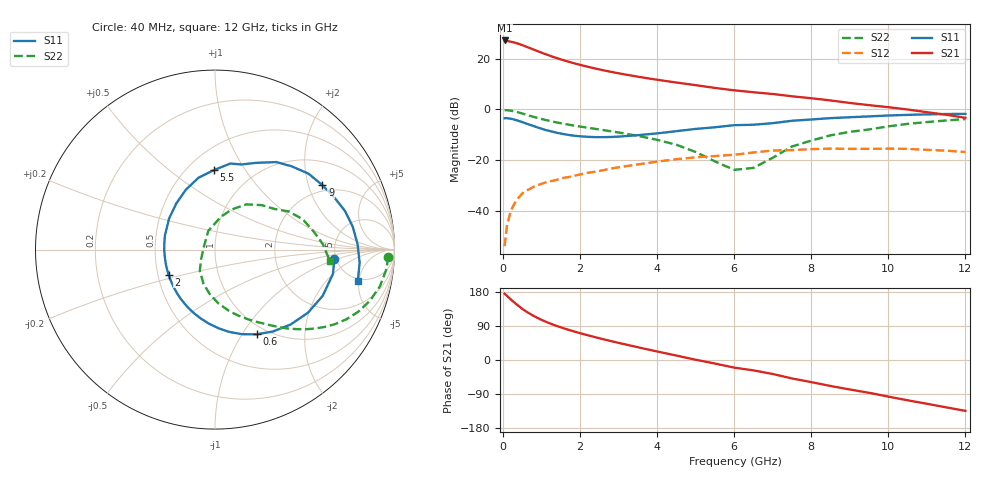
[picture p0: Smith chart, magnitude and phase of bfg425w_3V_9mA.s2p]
! Filename: 39bfg425.001
! BFG425W Field C1
! V1=8.379E-001V,V2=3.000E+000V, I1=1.134E-004A, I2=9.010E-003A
# GHz  S  MA  R 50
!  S11  S21  S12  S22
!Freq(GHz)  Mag  Ang  Mag  Ang  Mag  Ang  Mag  Ang
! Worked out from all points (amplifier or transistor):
!   44 points, 40 MHz to 12 GHz, reference 50 ohm
!   highest |S21| = 27.2 dB at 40 MHz (marker M1)
!   |S21| within 3 dB of that: start of sweep to 692.1 MHz
!   unconditionally stable (mu >= 1): 1.976 GHz to end of sweep
!   at 700 MHz: K = 0.50, MSG = 27.8 dB, |S12| = -31.4 dB
!   at 2.4 GHz: K = 1.10, MAG = 18.4 dB, |S12| = -24.6 dB
!   at 12 GHz: K = 1.40, MAG = 3.0 dB, |S12| = -16.8 dB
!   S11 on the Smith chart (normalised r, x): 40 MHz: 4.82, -0.92; 600 MHz: 0.89, -1.16; 2 GHz: 0.57, -0.17; 5.5 GHz: 0.67, +0.73; 9 GHz: 1.77, +2.48; 12 GHz: 4.67, -4.85
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0.04  0.667 -4.6  22.85 174.9  0.002 65.3  0.965 -2.4
0.2  0.653 -23.3  21.64 159.8  0.01 76.1  0.941 -12.7
0.3  0.626 -34.2  20.7 151.2  0.014 71.9  0.908 -18.4
0.4  0.593 -44.8  19.62 142.8  0.018 67.3  0.869 -23.6
0.5  0.559 -54.7  18.46 134.7  0.022 63.2  0.827 -28.1
0.6  0.526 -63.8  17.24 127.9  0.025 60.0  0.785 -32.0
0.8  0.465 -80.3  15.01 116.0  0.03 54.9  0.708 -38.4
0.9  0.438 -87.6  14.02 110.7  0.032 53.1  0.675 -41.1
1.2  0.375 -107.7  11.52 97.2  0.038 49.0  0.594 -47.7
1.4  0.345 -119.6  10.23 89.7  0.041 47.2  0.55 -51.2
1.6  0.322 -131.1  9.164 82.8  0.045 45.6  0.515 -54.5
2  0.294 -151.6  7.535 70.7  0.052 42.8  0.458 -60.9
2.2  0.287 -161.4  6.908 65.2  0.056 41.3  0.434 -64.1
3  0.29 164.1  5.135 45.2  0.072 34.3  0.349 -77.3
3.5  0.309 145.8  4.404 33.6  0.082 28.9  0.3 -86.5
4.5  0.371 116.0  3.38 11.6  0.104 16.0  0.2 -108.9
5.5  0.443 90.8  2.649 -9.4  0.12 1.6  0.094 -145.4
6.5  0.497 72.6  2.174 -27.4  0.141 -9.4  0.07 140.5
8.5  0.671 39.1  1.498 -68.6  0.168 -46.0  0.307 55.1
9  0.698 30.9  1.337 -77.8  0.166 -54.3  0.36 43.5
10.5  0.778 9.4  0.993 -106.3  0.166 -81.3  0.517 19.2
12  0.815 -12.3  0.68 -134.2  0.144 -111.8  0.644 -5.8
